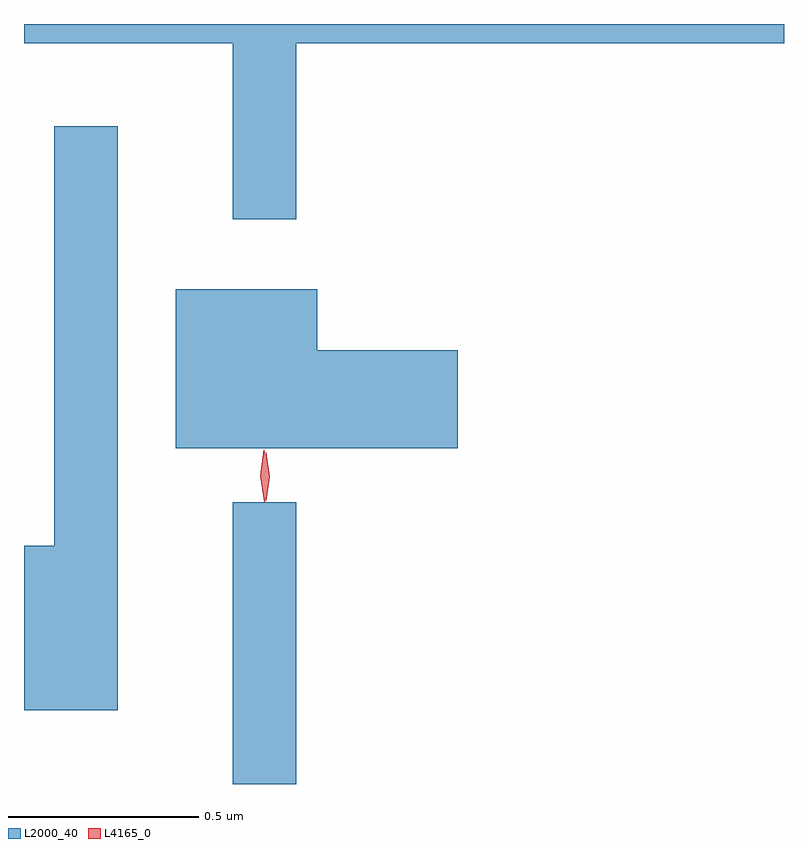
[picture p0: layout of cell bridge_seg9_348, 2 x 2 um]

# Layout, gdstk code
import gdstk
lib = gdstk.Library(unit=1e-6, precision=1e-09)
def R(c, l, rs):  # rectangles x0, y0, x1, y1
    for r in rs: c.add(gdstk.rectangle(r[:2], r[2:], *l))
def P(c, l, *ps):  # polygons
    for p in ps: c.add(gdstk.Polygon(p, *l))
L2000_40 = (2000, 40)
L4165_0 = (4165, 0)

bridge_seg9_348 = lib.new_cell('bridge_seg9_348')
R(bridge_seg9_348, L2000_40, [(667.411,2020.947,667.579,2021.688)])
P(bridge_seg9_348, L2000_40, [(667.579,2022.896),(668.862,2022.896),(668.862,2022.947),(666.862,2022.947),(666.862,2022.896),(667.411,2022.896),(667.411,2022.433),(667.579,2022.433)],
  [(667.109,2022.678),(666.941,2022.678),(666.941,2021.574),(666.862,2021.574),(666.862,2021.141),(667.109,2021.141)],
  [(668.004,2022.089),(667.634,2022.089),(667.634,2022.249),(667.261,2022.249),(667.261,2021.831),(668.004,2021.831)])
P(bridge_seg9_348, L4165_0, [(667.498,2021.693),(667.489,2021.756),(667.498,2021.819),(667.499,2021.82),(667.499,2021.819),(667.509,2021.756),(667.499,2021.693),(667.499,2021.693)],
  [(667.494,2021.69),(667.484,2021.758),(667.493,2021.826),(667.494,2021.826),(667.494,2021.826),(667.504,2021.758),(667.495,2021.69),(667.495,2021.69)])

lib.write_gds('bridge_seg9_348.gds')
